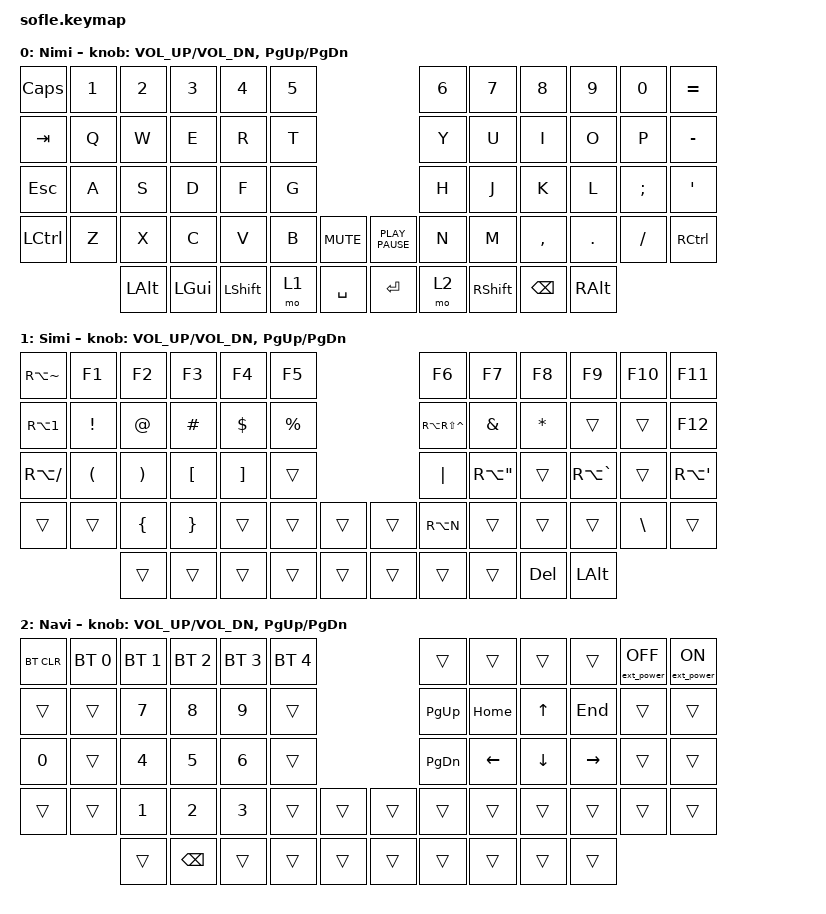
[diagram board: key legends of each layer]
/*
 * Copyright (c) 2020 The ZMK Contributors
 *
 * SPDX-License-Identifier: MIT
 */

#include <behaviors.dtsi>
#include <dt-bindings/zmk/bt.h>
#include <dt-bindings/zmk/ext_power.h>
#include <dt-bindings/zmk/keys.h>

/ {
    keymap {
        compatible = "zmk,keymap";

        Normal {
            // ------------------------------------------------------------------------------------------------------------
            // |  `    |  1  |  2  |  3   |  4   |  5   |                         |  6   |  7    |  8    |  9   |   0   |       |
            // |  ESC  |  Q  |  W  |  E   |  R   |  T   |                         |  Y   |  U    |  I    |  O   |   P   | BKSPC |
            // |  TAB  |  A  |  S  |  D   |  F   |  G   |                         |  H   |  J    |  K    |  L   |   ;   |   '   |
            // | SHIFT |  Z  |  X  |  C   |  V   |  B   |  MUTE  |        | ExtPw |  N   |  M    |  ,    |  .   |   /   | SHIFT |
            //               | GUI | ALT  | CTRL | LOWER|  ENTER |        | SPACE | RAISE| CTRL  | ALT   | GUI  |

            bindings = <
&kp CAPS          &kp N1  &kp N2        &kp N3        &kp N4          &kp N5                                  &kp N6  &kp N7           &kp N8         &kp N9         &kp N0    &kp EQUAL
&kp TAB           &kp Q   &kp W         &kp E         &kp R           &kp T                                   &kp Y   &kp U            &kp I          &kp O          &kp P     &kp MINUS
&kp ESC           &kp A   &kp S         &kp D         &kp F           &kp G                                   &kp H   &kp J            &kp K          &kp L          &kp SEMI  &kp SQT
&kp LEFT_CONTROL  &kp Z   &kp X         &kp C         &kp V           &kp B   &kp C_MUTE    &kp K_PLAY_PAUSE  &kp N   &kp M            &kp COMMA      &kp DOT        &kp FSLH  &kp RIGHT_CONTROL
                          &kp LEFT_ALT  &kp LEFT_GUI  &kp LEFT_SHIFT  &mo 1   &kp SPACE     &kp ENTER         &mo 2   &kp RIGHT_SHIFT  &kp BACKSPACE  &kp RIGHT_ALT
            >;

            sensor-bindings = <&inc_dec_kp C_VOL_UP C_VOL_DN &inc_dec_kp PG_UP PG_DN>;
            label = "Nimi";
        };

        Symbols {
            // TODO: Some binds are waiting for shifted keycode support.
            // ------------------------------------------------------------------------------------------------------------
            // |       |  F1 |  F2 |  F3  |  F4  |  F5  |                   |  F6  |  F7   |  F8   |  F9  |  F10  |  F11  |
            // | `     |   1 |   2 |   3  |   4  |   5  |                   |   6  |   7   |   8   |   9  |    0  |  F12  |
            // |       |  !  |  @  |  #   |  $   |  %   |                   |  ^   |  &    |  *    |  (   |   )   |   |   |
            // |       |  =  |  -  |  +   |  {   |  }   |        |  |       |  [   |  ]    |  ;    |  :   |   \   |       |
            //               |     |      |      |      |        |  |       |      |       |       |      |

            bindings = <
&kp RA(TILDE)     &kp F1                &kp F2                 &kp F3            &kp F4             &kp F5                         &kp F6             &kp F7                 &kp F8        &kp F9         &kp F10        &kp F11
&kp RA(NUMBER_1)  &kp EXCL              &kp AT_SIGN            &kp HASH          &kp DOLLAR         &kp PERCENT                    &kp RA(RS(CARET))  &kp AMPERSAND          &kp ASTERISK  &trans         &trans         &kp F12
&kp RA(SLASH)     &kp LEFT_PARENTHESIS  &kp RIGHT_PARENTHESIS  &kp LEFT_BRACKET  &kp RIGHT_BRACKET  &trans                         &kp PIPE           &kp RA(DOUBLE_QUOTES)  &trans        &kp RA(GRAVE)  &trans         &kp RA(APOS)
&trans            &trans                &kp LEFT_BRACE         &kp RIGHT_BRACE   &trans             &trans       &trans    &trans  &kp RA(N)          &trans                 &trans        &trans         &kp BACKSLASH  &trans
                                        &trans                 &trans            &trans             &trans       &trans    &trans  &trans             &trans                 &kp DELETE    &kp LEFT_ALT
            >;

            sensor-bindings = <&inc_dec_kp C_VOL_UP C_VOL_DN &inc_dec_kp PG_UP PG_DN>;
            label = "Simi";
        };

        Navigation {
            // ------------------------------------------------------------------------------------------------------------
            // |BTCLR| BT1  | BT2  |  BT3  |  BT4  |  BT5 |                |      |      |       |      |       |       |
            // |     | INS  | PSCR | GUI   |       |      |                | PGUP |      |   ^   |      |       |       |
            // |     | ALT  | CTRL | SHIFT |       | CAPS |                | PGDN |   <- |   v   |  ->  |  DEL  | BKSPC |
            // |     | UNDO | CUT  | COPY  | PASTE |      |      |  |      |      |      |       |      |       |       |
            //              |      |       |       |      |      |  |      |      |      |       |      |

            bindings = <
&bt BT_CLR    &bt BT_SEL 0  &bt BT_SEL 1  &bt BT_SEL 2   &bt BT_SEL 3  &bt BT_SEL 4                    &trans     &trans    &trans    &trans     &ext_power EP_OFF  &ext_power EP_ON
&trans        &trans        &kp N7        &kp N8         &kp N9        &trans                          &kp PG_UP  &kp HOME  &kp UP    &kp END    &trans             &trans
&kp NUMBER_0  &trans        &kp NUMBER_4  &kp N5         &kp NUMBER_6  &trans                          &kp PG_DN  &kp LEFT  &kp DOWN  &kp RIGHT  &trans             &trans
&trans        &trans        &kp NUMBER_1  &kp NUMBER_2   &kp NUMBER_3  &trans        &trans    &trans  &trans     &trans    &trans    &trans     &trans             &trans
                            &trans        &kp BACKSPACE  &trans        &trans        &trans    &trans  &trans     &trans    &trans    &trans
            >;

            sensor-bindings = <&inc_dec_kp C_VOL_UP C_VOL_DN &inc_dec_kp PG_UP PG_DN>;
            label = "Navi";
        };
    };
};
